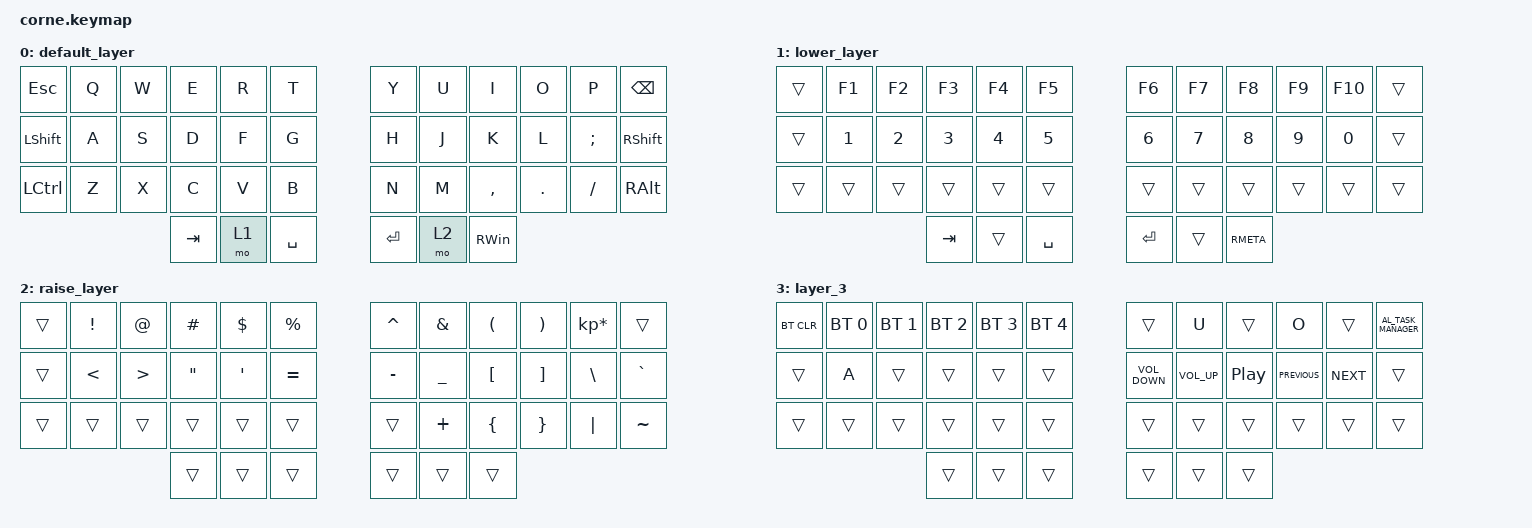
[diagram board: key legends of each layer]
/*
 * Copyright (c) 2020 The ZMK Contributors
 *
 * SPDX-License-Identifier: MIT
 */

#include <behaviors.dtsi>
#include <dt-bindings/zmk/bt.h>
#include <dt-bindings/zmk/keys.h>

/ {
    keymap {
        compatible = "zmk,keymap";

        default_layer {
            // -----------------------------------------------------------------------------------------
            // |  TAB |  Q  |  W  |  E  |  R  |  T  |   |  Y  |  U   |  I  |  O  |  P  | BKSP |
            // | CTRL |  A  |  S  |  D  |  F  |  G  |   |  H  |  J   |  K  |  L  |  ;  |  '   |
            // | SHFT |  Z  |  X  |  C  |  V  |  B  |   |  N  |  M   |  ,  |  .  |  /  | ESC  |
            //                    | GUI | LWR | SPC |   | ENT | RSE  | ALT |

            bindings = <
&kp ESCAPE        &kp Q  &kp W  &kp E    &kp R  &kp T        &kp Y    &kp U  &kp I          &kp O    &kp P     &kp BSPC
&kp LSHFT         &kp A  &kp S  &kp D    &kp F  &kp G        &kp H    &kp J  &kp K          &kp L    &kp SEMI  &kp RIGHT_SHIFT
&kp LEFT_CONTROL  &kp Z  &kp X  &kp C    &kp V  &kp B        &kp N    &kp M  &kp COMMA      &kp DOT  &kp FSLH  &kp RIGHT_ALT
                                &kp TAB  &mo 1  &kp SPACE    &kp RET  &mo 2  &kp RIGHT_WIN
            >;
        };

        lower_layer {
            // -----------------------------------------------------------------------------------------
            // |  TAB |  1  |  2  |  3  |  4  |  5  |   |  6  |  7  |  8  |  9  |  0  | BKSP |
            // | BTCLR| BT1 | BT2 | BT3 | BT4 | BT5 |   | LFT | DWN |  UP | RGT |     |      |
            // | SHFT |     |     |     |     |     |   |     |     |     |     |     |      |
            //                    | GUI |     | SPC |   | ENT |     | ALT |

            bindings = <
&trans  &kp F1        &kp F2        &kp F3   &kp F4        &kp F5       &kp F6        &kp F7  &kp F8     &kp F9  &kp F10  &trans
&trans  &kp NUMBER_1  &kp NUMBER_2  &kp N3   &kp NUMBER_4  &kp N5       &kp NUMBER_6  &kp N7  &kp N8     &kp N9  &kp N0   &trans
&trans  &trans        &trans        &trans   &trans        &trans       &trans        &trans  &trans     &trans  &trans   &trans
                                    &kp TAB  &trans        &kp SPACE    &kp RET       &trans  &kp RMETA
            >;
        };

        raise_layer {
            // -----------------------------------------------------------------------------------------
            // |  TAB |  !  |  @  |  #  |  $  |  %  |   |  ^  |  &  |  *  |  (  |  )  | BKSP |
            // | CTRL |     |     |     |     |     |   |  -  |  =  |  [  |  ]  |  \  |  `   |
            // | SHFT |     |     |     |     |     |   |  _  |  +  |  {  |  }  | "|" |  ~   |
            //                    | GUI |     | SPC |   | ENT |     | ALT |

            bindings = <
&trans  &kp EXCL  &kp AT            &kp HASH           &kp DLLR          &kp PRCNT    &kp CARET  &kp AMPS        &kp LPAR  &kp RPAR  &kp KP_MULTIPLY  &trans
&trans  &kp LT    &kp GREATER_THAN  &kp DOUBLE_QUOTES  &kp SINGLE_QUOTE  &kp EQUAL    &kp MINUS  &kp UNDERSCORE  &kp LBKT  &kp RBKT  &kp BSLH         &kp GRAVE
&trans  &trans    &trans            &trans             &trans            &trans       &trans     &kp PLUS        &kp LBRC  &kp RBRC  &kp PIPE         &kp TILDE
                                    &trans             &trans            &trans       &trans     &trans          &trans
            >;
        };

        layer_3 {
            bindings = <
&bt BT_CLR  &bt BT_SEL 0  &bt BT_SEL 1  &bt BT_SEL 2  &bt BT_SEL 3  &bt BT_SEL 4    &trans             &kp U            &trans            &kp O           &trans      &kp C_AL_TASK_MANAGER
&trans      &kp A         &trans        &trans        &trans        &trans          &kp C_VOLUME_DOWN  &kp C_VOLUME_UP  &kp C_PLAY_PAUSE  &kp C_PREVIOUS  &kp C_NEXT  &trans
&trans      &trans        &trans        &trans        &trans        &trans          &trans             &trans           &trans            &trans          &trans      &trans
                                        &trans        &trans        &trans          &trans             &trans           &trans
            >;
        };
    };

    conditional_layers {
        compatible = "zmk,conditional-layers";

        Activate3 {
            if-layers = <1 2>;
            then-layer = <3>;
        };
    };
};
